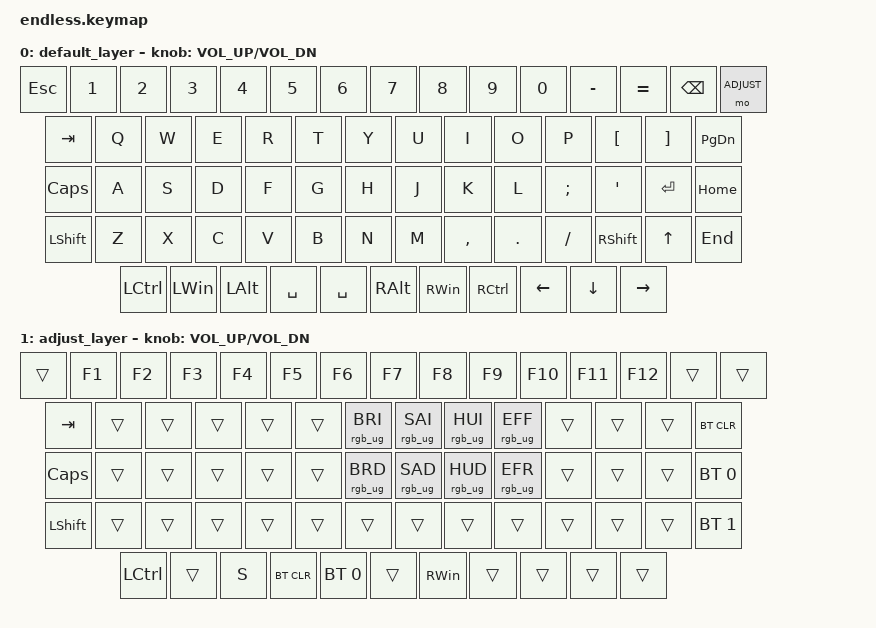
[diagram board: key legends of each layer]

/*
 * Copyright (c) 2020 The ZMK Contributors
 *
 * SPDX-License-Identifier: MIT
 */

#define DEFAULT 0
#define ADJUST  1

#include <behaviors.dtsi>
#include <dt-bindings/zmk/keys.h>
#include <dt-bindings/zmk/bt.h>
#include <dt-bindings/zmk/rgb.h>
#include <dt-bindings/led/led.h>

/ {
    keymap {
        compatible = "zmk,keymap";

        default_layer {
// -------------------------------------------------------------------------------
// |  ESC |  1  |  2  |  3  |  4  |  5  |  6  |         |  7  |  8  |  9  |  0  |  -  |  =  | BKSP |  PAGE_UP   |
// |  TAB |  Q  |  W  |  E  |  R  |  T  |               |  Y  |  U  |  I  |  O  |  P  |  [  |  ]   |  PAGE_DOWN |
// | CAPS |  A  |  S  |  D  |  F  |  G  |               |  H  |  J  |  K  |  L  |  ;  |  '  |  RET |  HOME |
// | LSHFT |  Z  |  X  |  C  |  V  |  B  |              |  N  |  M  |  ,  |  .  |  /  |  RSHFT  | UP | END |
// | LCTRL |  WIN  |  LALT  |  SPACE  |                 |  SPACE  |  RALT  |  ADJUST  |  RCTRL  | LEFT | DOWN | RIGHT | 

                bindings = <&zed_em_kay>;
                bindings = <
                        &kp ESC    &kp N1    &kp N2    &kp N3    &kp N4    &kp N5    &kp N6             &kp N7   &kp N8    &kp N9    &kp N0    &kp MINUS    &kp EQUAL    &kp BSPC    &mo ADJUST    
                        &kp TAB    &kp Q    &kp W    &kp E    &kp R    &kp T                            &kp Y    &kp U    &kp I    &kp O    &kp P    &kp LBKT    &kp RBKT    &kp PG_DN         
                        &kp CAPS    &kp A    &kp S    &kp D    &kp F    &kp G                           &kp H    &kp J    &kp K    &kp L    &kp SEMI    &kp APOS    &kp RET    &kp HOME  
                        &kp LSHFT    &kp Z    &kp X    &kp C    &kp V    &kp B                          &kp N    &kp M    &kp COMMA    &kp DOT    &kp FSLH    &kp RSHFT    &kp UP    &kp END  
                        &kp LCTRL    &kp LWIN    &kp LALT    &kp SPACE                                &kp SPACE    &kp RALT    &kp RWIN    &kp RCTRL    &kp LEFT    &kp DOWN    &kp RIGHT  
                >;
                sensor-bindings = <&inc_dec_kp C_VOL_UP C_VOL_DN>;  
        };

        adjust_layer {
// -------------------------------------------------------------------------------
// | trans | trans | trans | trans | trans | trans | trans |       | BT1 |  BT2 | BT3 | BT4 | BT5 | BT6 | BT CLR | trans | 
// | trans | trans | trans | trans | trans | trans |               | RGB BRI- |  RGB SAT- | RGB HUE- | RGB ANI- | trans | trans | trans | trans |
// | trans | trans | trans | trans | trans | trans |               | RGB BRI+ |  RGB SAT+ | RGB HUE+ | RGB ANI+ | trans | trans | trans | trans | 
// | trans | trans | trans | trans | trans | trans |               | trans |  trans | trans | trans | trans | trans | trans | trans | 
// | trans | trans | trans | trans |                               | trans |  trans | trans | trans | trans | trans | trans | trans | 

                bindings = <&zed_em_kay>;
                bindings = <
                        &trans      &kp F1    &kp F2    &kp F3    &kp F4    &kp F5    &kp F6             &kp F7    &kp F8    &kp F9    &kp F10    &kp F11    &kp F12  &trans  &trans
                        &kp TAB     &trans    &trans    &trans    &trans    &trans                       &rgb_ug RGB_BRI    &rgb_ug RGB_SAI     &rgb_ug RGB_HUI     &rgb_ug RGB_EFF     &trans    &trans  &trans  &bt BT_CLR
                        &kp CAPS    &trans    &trans    &trans    &trans    &trans                       &rgb_ug RGB_BRD    &rgb_ug RGB_SAD    &rgb_ug RGB_HUD      &rgb_ug RGB_EFR     &trans    &trans  &trans  &bt BT_SEL 0
                        &kp LSHFT    &trans    &trans    &trans    &trans    &trans                      &trans  &trans  &trans  &trans  &trans  &trans  &trans  &bt BT_SEL 1
                        &kp LCTRL    &trans    &kp S    &bt BT_CLR                                    &bt BT_SEL 0  &trans  &kp RWIN  &trans  &trans  &trans  &trans
                >;
                sensor-bindings = <&inc_dec_kp C_VOL_UP C_VOL_DN>;  
        };        
    };
};


&left_encoder {
    status = "okay";
};
